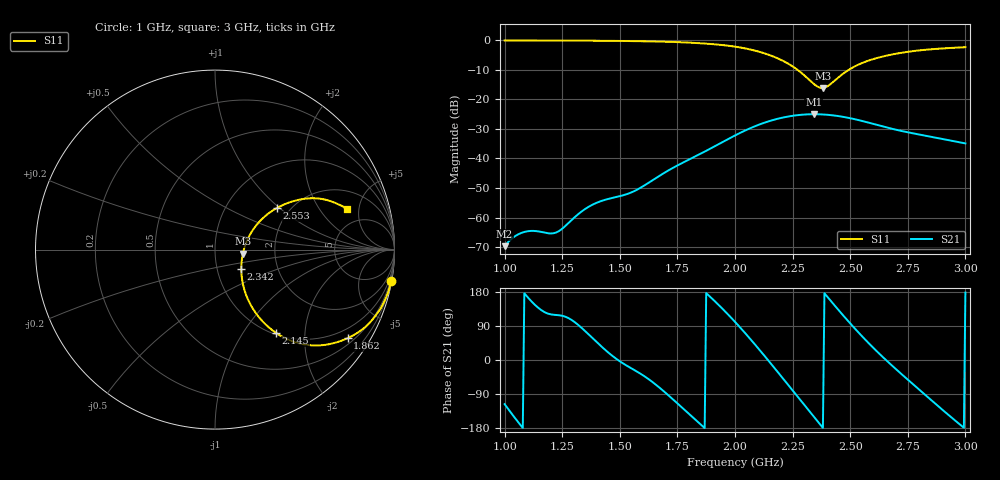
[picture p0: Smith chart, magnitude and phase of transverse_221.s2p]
! TOUCHSTONE file generated by CST MICROWAVE STUDIO
! Date and time: Tue Mar 11 13:57:50 2025
! Project name: transverse.cst
! Parameters = {Fracture=1; B=10; D=160; F=5; Feed=2.85625; L=100; M=20; R=0.384908; S=1; Theta=270; length=57.125; wave=114.25}
! Header version: 2024
! Port assignment regex: !\s*Touchstone port\s*([0-9]+)\s*=\s*(CST MWS port|CST DES external port|CST DES block port)\s*(.+)\s* \(\"(.*)\"\)(\s*mode\s*([0-9]+))?.*
! Touchstone port assignment:
! Touchstone port 1 = CST MWS port 1 ("")
! Touchstone port 2 = CST MWS port 2 ("")
# GHz S MA R 50
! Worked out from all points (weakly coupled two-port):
!   305 points, 1 GHz to 3 GHz, reference 50 ohm
!   highest |S21| = -25.00 dB at 2.342 GHz (marker M1); lowest = -69.7 dB at 1 GHz (marker M2)
!   lowest |S11| = -16.1 dB at 2.382 GHz (marker M3), VSWR 1.37, Z = 68.3 - j3.2 ohm
!   |S11| at or under -10 dB: 2.272 GHz to 2.493 GHz (221.4 MHz wide, 9.29 % of centre)
!   S12 and S22 are empty: the file has one direction only
!   S11 on the Smith chart (normalised r, x): 1 GHz: 0, -11; 1.862 GHz: 0.68, -3.17; 2.145 GHz: 1.03, -1.42; 2.342 GHz: 1.30, -0.30; 2.553 GHz: 1.71, +0.96; 3 GHz: 3.33, +3.70
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1  0.9979 -10.0  0.0003274 -116.5  0 0.0  0 0.0
1.03947  0.9972 -10.5  0.0004661 -148.7  0 0.0  0 0.0
1.08553  0.9963 -11.2  0.0005703 176.0  0 0.0  0 0.0
1.22368  0.9941 -13.4  0.0005585 118.8  0 0.0  0 0.0
1.33553  0.9898 -15.5  0.001277 84.1  0 0.0  0 0.0
1.40789  0.9865 -17.0  0.001833 42.6  0 0.0  0 0.0
1.55921  0.9734 -21.0  0.002761 -25.2  0 0.0  0 0.0
1.67105  0.956 -24.8  0.005061 -72.3  0 0.0  0 0.0
1.86184  0.8885 -33.7  0.01269 -176.1  0 0.0  0 0.0
2  0.7843 -42.9  0.02454 100.7  0 0.0  0 0.0
2.07237  0.693 -48.6  0.03334 51.2  0 0.0  0 0.0
2.14474  0.5738 -53.8  0.04247 -1.3  0 0.0  0 0.0
2.24342  0.3771 -57.3  0.0524 -75.4  0 0.0  0 0.0
2.33553  0.1927 -40.4  0.05619 -144.9  0 0.0  0 0.0
2.34211  0.1831 -37.0  0.05622 -149.8  0 0.0  0 0.0
2.38158  0.1567 -8.4  0.05568 -179.1  0 0.0  0 0.0
2.40789  0.1741 10.6  0.05469 161.6  0 0.0  0 0.0
2.46711  0.2688 30.6  0.05092 119.3  0 0.0  0 0.0
2.55263  0.4154 33.9  0.04312 61.8  0 0.0  0 0.0
2.67105  0.5668 29.9  0.0326 -9.0  0 0.0  0 0.0
2.82237  0.6917 23.2  0.02451 -90.3  0 0.0  0 0.0
3  0.768 17.3  0.018 178.0  0 0.0  0 0.0
